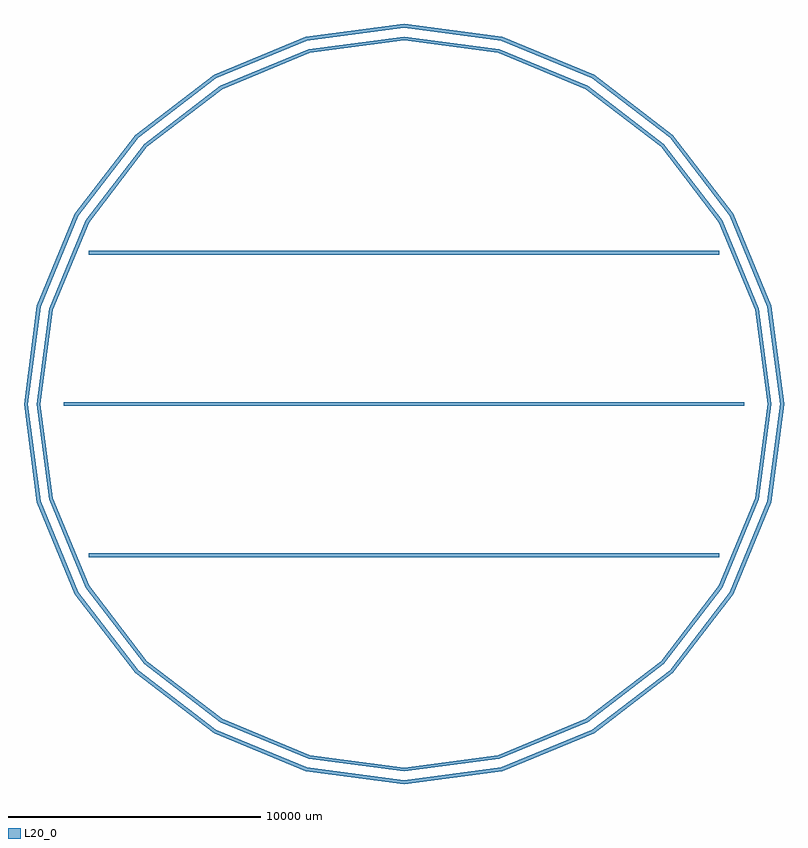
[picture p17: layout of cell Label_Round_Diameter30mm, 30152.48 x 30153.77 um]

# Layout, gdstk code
import gdstk
lib = gdstk.Library(unit=1e-6, precision=1e-09)
L20_0 = (20, 0)

label_round_diameter30mm = lib.new_cell('Label_Round_Diameter30mm')
label_round_diameter30mm.add(gdstk.FlexPath([(-11000.74,0),(11000.74,0)], 149.998, ends="flush", simple_path=True, layer=20, datatype=0))  # L20_0
label_round_diameter30mm.add(gdstk.FlexPath([(9499.6,5999.48),(-9499.6,5999.48)], 149.998, ends="flush", simple_path=True, layer=20, datatype=0))  # L20_0
label_round_diameter30mm.add(gdstk.FlexPath([(-9499.6,-5999.48),(9499.6,-5999.48)], 149.998, ends="flush", simple_path=True, layer=20, datatype=0))  # L20_0
label_round_diameter30mm.add(gdstk.FlexPath([(15001.24,0),(14490.085,3882.607),(12991.455,7500.62),(10607.479,10607.479),(7500.62,12991.455),(3882.607,14490.085),(0,15001.24),(-3882.607,14490.085),(-7500.62,12991.455),(-10607.479,10607.479),(-12991.455,7500.62),(-14490.085,3882.607),(-15001.24,0),(-14490.085,-3882.607),(-12991.455,-7500.62),(-10607.479,-10607.479),(-7500.62,-12991.455),(-3882.607,-14490.085),(0,-15001.24),(3882.607,-14490.085),(7500.62,-12991.455),(10607.479,-10607.479),(12991.455,-7500.62),(14490.085,-3882.607),(15001.24,0)], 149.998, ends="flush", simple_path=True, layer=20, datatype=0))  # L20_0
label_round_diameter30mm.add(gdstk.FlexPath([(14500.86,0),(14006.755,3753.099),(12558.113,7250.43),(10253.656,10253.656),(7250.43,12558.113),(3753.099,14006.755),(0,14500.86),(-3753.099,14006.755),(-7250.43,12558.113),(-10253.656,10253.656),(-12558.113,7250.43),(-14006.755,3753.099),(-14500.86,0),(-14006.755,-3753.099),(-12558.113,-7250.43),(-10253.656,-10253.656),(-7250.43,-12558.113),(-3753.099,-14006.755),(0,-14500.86),(3753.099,-14006.755),(7250.43,-12558.113),(10253.656,-10253.656),(12558.113,-7250.43),(14006.755,-3753.099),(14500.86,0)], 149.998, ends="flush", simple_path=True, layer=20, datatype=0))  # L20_0
label_round_diameter30mm.add(gdstk.FlexPath([(11000.74,0),(13500.1,0)], 149.998, ends="flush", simple_path=True, layer=20, datatype=0))  # L20_0
label_round_diameter30mm.add(gdstk.FlexPath([(-10500.36,0),(-13500.1,0)], 149.998, ends="flush", simple_path=True, layer=20, datatype=0))  # L20_0
label_round_diameter30mm.add(gdstk.FlexPath([(9499.6,5999.48),(12499.34,5999.48)], 149.998, ends="flush", simple_path=True, layer=20, datatype=0))  # L20_0
label_round_diameter30mm.add(gdstk.FlexPath([(-8999.22,5999.48),(-12499.34,5999.48)], 149.998, ends="flush", simple_path=True, layer=20, datatype=0))  # L20_0
label_round_diameter30mm.add(gdstk.FlexPath([(-9499.6,-5999.48),(-12499.34,-5999.48)], 149.998, ends="flush", simple_path=True, layer=20, datatype=0))  # L20_0
label_round_diameter30mm.add(gdstk.FlexPath([(9499.6,-5999.48),(12499.34,-5999.48)], 149.998, ends="flush", simple_path=True, layer=20, datatype=0))  # L20_0
label_round_diameter30mm.add(gdstk.Label('type', (0,-16499.84), layer=9, texttype=0))
label_round_diameter30mm.add(gdstk.Label('devicename', (0,16499.84), layer=9, texttype=0))

lib.write_gds('Label_Round_Diameter30mm.gds')
